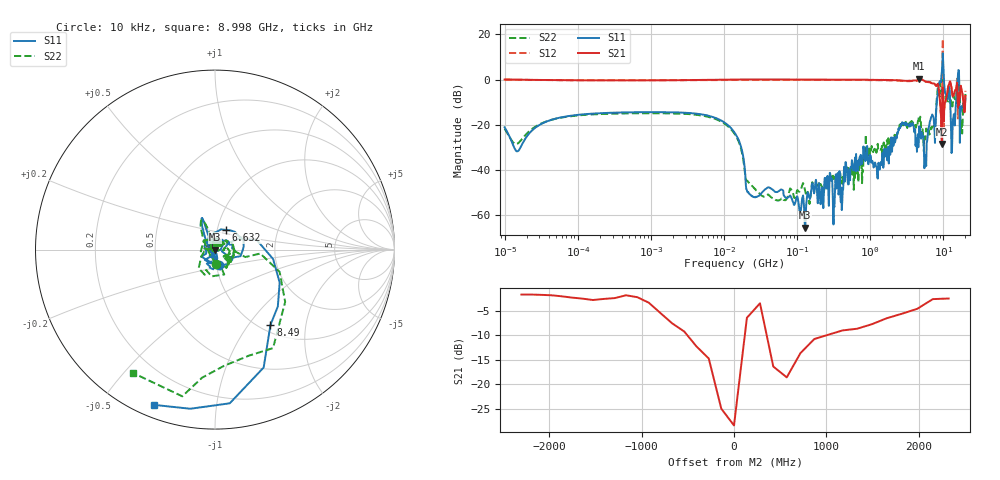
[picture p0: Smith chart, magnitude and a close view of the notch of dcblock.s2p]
#  HZ  S  RI  R  50.00
! Rohde & Schwarz Vector Network Analyzer
! Rohde-Schwarz,ZNL20-2Port,1323001220101312,1.72.1.6-23.02.1.246
! Created: UTC 10/2/2024, 9:07:14 PM
! freq[Hz]  re:S11  im:S11  re:S21  im:S21  re:S12  im:S12  re:S22  im:S22
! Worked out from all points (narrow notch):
!   1000 points, 10 kHz to 20 GHz, reference 50 ohm
!   highest |S21| = 0.36 dB at 4.681 GHz (marker M1); lowest = -28.5 dB at 9.536 GHz (marker M2)
!   notch at M2: 28.3 dB deep, 388 MHz wide at half that depth
!   lowest |S11| = -65.5 dB at 127.7 MHz (marker M3), VSWR 1.00, Z = 50 + j0.0525 ohm
!   |S11| at or under -10 dB: start of sweep to 8.114 GHz; 12.38 GHz to 14.92 GHz (2.539 GHz wide, 18.6 % of centre); 16.62 GHz to 19.83 GHz (3.211 GHz wide, 17.6 % of centre)
!   |S22| runs from -55.0 to 4.6 dB; largest |S21 - S12| = 7.2
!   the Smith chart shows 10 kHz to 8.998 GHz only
!   S11 on the Smith chart (normalised r, x): 10 kHz: 1.03, -0.18; 6.632 GHz: 1.10, +0.24; 8.49 GHz: 1.12, -1.28; 8.998 GHz: 0.05, -0.68
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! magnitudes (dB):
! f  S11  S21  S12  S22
! 10 kHz  -21.1  0.0  0.0  -21.7
! 15.02 kHz  -31.7  0.0  -0.1  -28.3
! 113.1 kHz  -15.4  -0.3  -0.3  -15.7
! 1.26 MHz  -14.4  -0.3  -0.3  -14.9
! 14.25 MHz  -23.9  0.0  -0.1  -24.5
! 22.35 MHz  -50.7  0.1  -0.1  -45.8
! 127.7 MHz  -65.5  0.0  -0.1  -48.8
! 158.7 MHz  -47.1  0.0  -0.2  -46.4
! 396.3 MHz  -54.2  0.0  -0.2  -44.2
! 773 MHz  -37.3  0.0  -0.2  -45.8
! 1.795 GHz  -37.1  -0.2  -0.4  -26.9
! 2.815 GHz  -19.4  -0.5  -0.6  -20.3
! 4.681 GHz  -20.7  0.4  0.2  -16.5
! 5.736 GHz  -35.1  -0.9  -1.0  -24.2
! 6.632 GHz  -18.1  -1.2  -1.3  -22.4
! 8.49 GHz  -5.7  -2.2  -2.3  -4.1
! 8.998 GHz  -0.6  -9.3  -8.3  -1.7
! 9.536 GHz  3.6  -28.5  -19.8  0.7
! 13.51 GHz  -17.5  -7.4  -7.6  -9.8
! 15.4 GHz  -1.7  -1.4  0.1  1.1
! 18.33 GHz  -12.6  -6.7  -7.1  -17.7
! 20 GHz  -8.4  -7.2  -5.0  -6.4
